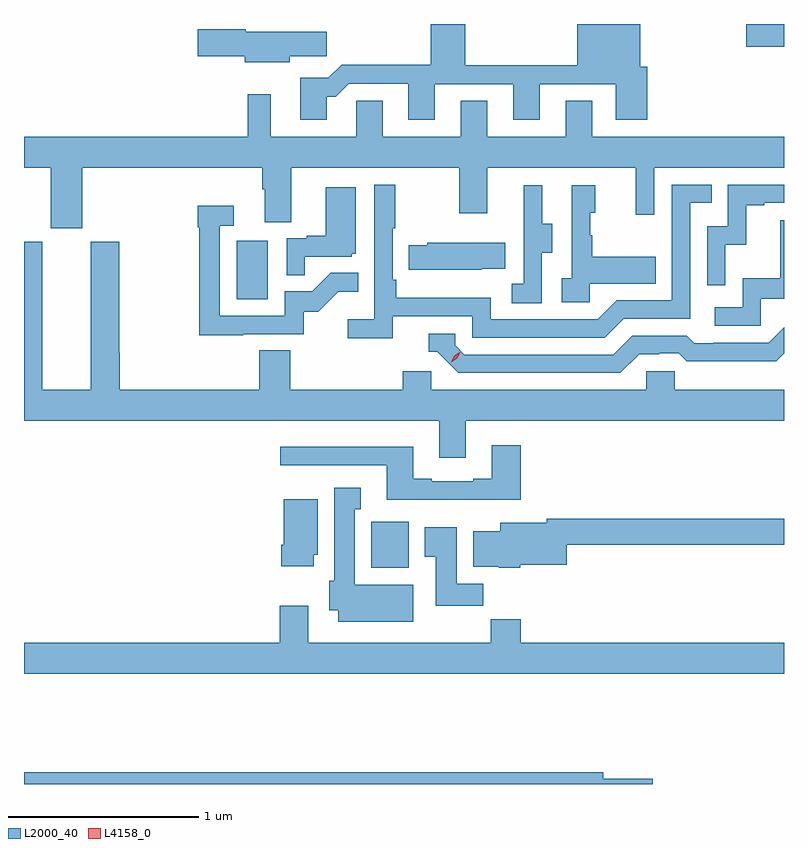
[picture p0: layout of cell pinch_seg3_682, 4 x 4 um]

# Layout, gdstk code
import gdstk
lib = gdstk.Library(unit=1e-6, precision=1e-09)
def R(c, l, rs):  # rectangles x0, y0, x1, y1
    for r in rs: c.add(gdstk.rectangle(r[:2], r[2:], *l))
def P(c, l, *ps):  # polygons
    for p in ps: c.add(gdstk.Polygon(p, *l))
L2000_40 = (2000, 40)
L4158_0 = (4158, 0)

pinch_seg3_682 = lib.new_cell('pinch_seg3_682')
R(pinch_seg3_682, L2000_40, [(1115.078,678.83,1115.275,679.072), (1114.37,680.244,1114.534,680.551), (1117.05,681.574,1117.25,681.693)])
P(pinch_seg3_682, L2000_40, [(1114.843,681.311),(1114.892,681.311),(1114.959,681.378),(1115.273,681.378),(1115.273,681.189),(1115.413,681.189),(1115.413,681.375),(1115.825,681.375),(1115.825,681.189),(1115.965,681.189),(1115.965,681.375),(1116.365,681.375),(1116.365,681.189),(1116.53,681.189),(1116.53,681.468),(1116.493,681.468),(1116.493,681.693),(1116.161,681.693),(1116.161,681.476),(1115.573,681.476),(1115.573,681.693),(1115.39,681.693),(1115.39,681.479),(1114.922,681.479),(1114.852,681.409),(1114.703,681.409),(1114.703,681.189),(1114.843,681.189)],
  [(1114.648,681.523),(1114.843,681.523),(1114.843,681.652),(1114.416,681.652),(1114.416,681.665),(1114.164,681.665),(1114.164,681.523),(1114.412,681.523),(1114.412,681.491),(1114.648,681.491)],
  [(1114.505,680.824),(1114.517,680.824),(1114.517,680.65),(1114.657,680.65),(1114.657,680.936),(1115.542,680.936),(1115.542,680.697),(1115.689,680.697),(1115.689,680.936),(1116.47,680.936),(1116.47,680.688),(1116.567,680.688),(1116.567,680.936),(1117.25,680.936),(1117.25,681.1),(1116.241,681.1),(1116.241,681.29),(1116.101,681.29),(1116.101,681.1),(1115.689,681.1),(1115.689,681.29),(1115.549,681.29),(1115.549,681.1),(1115.137,681.1),(1115.137,681.29),(1114.998,681.29),(1114.998,681.1),(1114.549,681.1),(1114.549,681.322),(1114.428,681.322),(1114.428,681.1),(1113.25,681.1),(1113.25,680.936),(1113.392,680.936),(1113.392,680.619),(1113.556,680.619),(1113.556,680.936),(1114.505,680.936)],
  [(1115.192,680.154),(1115.61,680.154),(1115.61,680.043),(1116.307,680.043),(1116.406,680.142),(1116.756,680.142),(1116.756,680.751),(1116.869,680.751),(1116.869,680.847),(1116.66,680.847),(1116.66,680.238),(1116.369,680.238),(1116.27,680.139),(1115.706,680.139),(1115.706,680.251),(1115.21,680.251),(1115.21,680.347),(1115.19,680.347),(1115.19,680.617),(1115.203,680.617),(1115.203,680.848),(1115.094,680.848),(1115.094,680.14),(1114.953,680.14),(1114.953,680.038),(1115.192,680.038)],
  [(1116.942,680.531),(1117.052,680.531),(1117.052,680.739),(1117.147,680.739),(1117.147,680.751),(1117.25,680.751),(1117.25,680.847),(1116.954,680.847),(1116.954,680.628),(1116.846,680.628),(1116.846,680.319),(1116.942,680.319)],
  [(1115.976,680.488),(1116.031,680.488),(1116.031,680.643),(1115.977,680.643),(1115.977,680.845),(1115.879,680.845),(1115.879,680.631),(1115.88,680.631),(1115.88,680.327),(1115.817,680.327),(1115.817,680.224),(1115.976,680.224)],
  [(1116.228,680.327),(1116.575,680.327),(1116.575,680.467),(1116.241,680.467),(1116.241,680.582),(1116.231,680.582),(1116.231,680.7),(1116.256,680.7),(1116.256,680.845),(1116.132,680.845),(1116.132,680.354),(1116.081,680.354),(1116.081,680.229),(1116.228,680.229)],
  [(1114.727,680.469),(1114.974,680.469),(1114.974,680.484),(1114.996,680.484),(1114.996,680.833),(1114.838,680.833),(1114.838,680.578),(1114.739,680.578),(1114.739,680.565),(1114.632,680.565),(1114.632,680.371),(1114.727,680.371)],
  [(1114.403,680.061),(1114.722,680.061),(1114.722,680.178),(1114.798,680.178),(1114.905,680.285),(1115.009,680.285),(1115.009,680.384),(1114.865,680.384),(1114.767,680.286),(1114.623,680.286),(1114.623,680.157),(1114.281,680.157),(1114.281,680.631),(1114.354,680.631),(1114.354,680.737),(1114.165,680.737),(1114.165,680.624),(1114.173,680.624),(1114.173,680.056),(1114.403,680.056)],
  [(1117.128,680.247),(1117.25,680.247),(1117.25,680.659),(1117.231,680.659),(1117.231,680.356),(1117.032,680.356),(1117.032,680.202),(1116.885,680.202),(1116.885,680.106),(1117.128,680.106)],
  [(1115.658,680.405),(1115.783,680.405),(1115.783,680.542),(1115.373,680.542),(1115.373,680.529),(1115.275,680.529),(1115.275,680.399),(1115.658,680.399)],
  [(1116.487,679.956),(1116.594,679.956),(1116.594,679.959),(1116.697,679.959),(1116.739,679.917),(1116.972,679.917),(1116.972,679.919),(1117.208,679.919),(1117.25,679.961),(1117.25,680.096),(1117.17,680.016),(1116.877,680.016),(1116.877,680.013),(1116.778,680.013),(1116.739,680.052),(1116.45,680.052),(1116.351,679.953),(1115.568,679.953),(1115.52,680.001),(1115.52,680.064),(1115.381,680.064),(1115.381,679.968),(1115.424,679.968),(1115.535,679.857),(1116.388,679.857)],
  [(1113.602,680.547),(1113.602,679.768),(1113.346,679.768),(1113.346,680.547),(1113.25,680.547),(1113.25,679.604),(1115.435,679.604),(1115.435,679.41),(1115.575,679.41),(1115.575,679.604),(1117.25,679.604),(1117.25,679.768),(1116.675,679.768),(1116.675,679.866),(1116.525,679.866),(1116.525,679.768),(1115.394,679.768),(1115.394,679.866),(1115.243,679.866),(1115.243,679.768),(1114.652,679.768),(1114.652,679.976),(1114.487,679.976),(1114.487,679.768),(1113.755,679.768),(1113.755,679.964),(1113.75,679.964),(1113.75,680.547)],
  [(1115.864,679.477),(1115.711,679.477),(1115.711,679.3),(1115.615,679.3),(1115.615,679.287),(1115.395,679.287),(1115.395,679.3),(1115.299,679.3),(1115.299,679.468),(1114.599,679.468),(1114.599,679.371),(1115.159,679.371),(1115.159,679.19),(1115.864,679.19)],
  [(1115.299,678.742),(1114.99,678.742),(1114.99,679.139),(1115.023,679.139),(1115.023,679.252),(1114.883,679.252),(1114.883,678.762),(1114.856,678.762),(1114.856,678.608),(1114.904,678.608),(1114.904,678.548),(1115.299,678.548)],
  [(1114.774,678.9),(1114.795,678.9),(1114.795,679.192),(1114.616,679.192),(1114.616,678.952),(1114.604,678.952),(1114.604,678.84),(1114.774,678.84)],
  [(1115.862,678.848),(1116.106,678.848),(1116.106,678.952),(1117.25,678.952),(1117.25,679.088),(1116.002,679.088),(1116.002,679.069),(1115.756,679.069),(1115.756,679.024),(1115.615,679.024),(1115.615,678.836),(1115.748,678.836),(1115.748,678.83),(1115.862,678.83)],
  [(1115.666,678.748),(1115.527,678.748),(1115.527,679.045),(1115.36,679.045),(1115.36,678.889),(1115.417,678.889),(1115.417,678.63),(1115.666,678.63)],
  [(1117.25,678.436),(1115.864,678.436),(1115.864,678.56),(1115.707,678.56),(1115.707,678.436),(1114.747,678.436),(1114.747,678.631),(1114.595,678.631),(1114.595,678.436),(1113.25,678.436),(1113.25,678.272),(1117.25,678.272)],
  [(1116.559,677.72),(1116.298,677.72),(1116.298,677.756),(1113.25,677.756),(1113.25,677.693),(1116.559,677.693)])
P(pinch_seg3_682, L4158_0, [(1115.499,679.913),(1115.499,679.914),(1115.514,679.946),(1115.544,679.966),(1115.545,679.966),(1115.545,679.966),(1115.529,679.933),(1115.499,679.913)])

lib.write_gds('pinch_seg3_682.gds')
